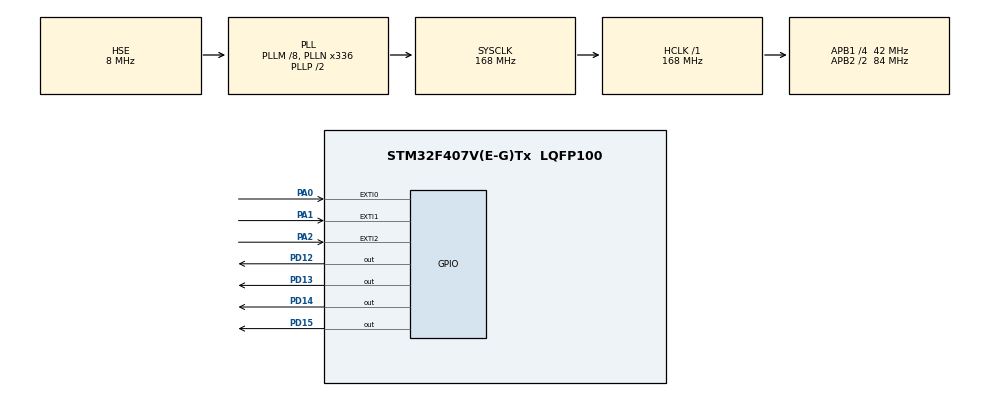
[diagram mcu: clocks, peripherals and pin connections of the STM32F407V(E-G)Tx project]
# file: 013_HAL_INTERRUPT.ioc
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Mcu.Family=STM32F4
Mcu.Name=STM32F407V(E-G)Tx
Mcu.Package=LQFP100
NVIC.EXTI0_IRQn=true\:0\:0\:false\:false\:true\:true\:true
NVIC.EXTI1_IRQn=true\:0\:0\:false\:false\:true\:true\:true
NVIC.EXTI2_IRQn=true\:0\:0\:false\:false\:true\:true\:true
NVIC.PriorityGroup=NVIC_PRIORITYGROUP_0
PA0-WKUP.GPIO_PuPd=GPIO_PULLDOWN
PA0-WKUP.Signal=GPXTI0
PA1.GPIO_PuPd=GPIO_PULLDOWN
PA1.Signal=GPXTI1
PA2.GPIO_PuPd=GPIO_PULLDOWN
PA2.Signal=GPXTI2
PD12.GPIO_Speed=GPIO_SPEED_FREQ_VERY_HIGH
PD12.Signal=GPIO_Output
PD13.GPIO_Speed=GPIO_SPEED_FREQ_VERY_HIGH
PD13.Signal=GPIO_Output
PD14.GPIO_Speed=GPIO_SPEED_FREQ_VERY_HIGH
PD14.Signal=GPIO_Output
PD15.GPIO_Speed=GPIO_SPEED_FREQ_VERY_HIGH
PD15.Signal=GPIO_Output
PH0-OSC_IN.Mode=HSE-External-Oscillator
PH0-OSC_IN.Signal=RCC_OSC_IN
PH1-OSC_OUT.Mode=HSE-External-Oscillator
PH1-OSC_OUT.Signal=RCC_OSC_OUT
ProjectManager.HeapSize=0x200
ProjectManager.StackSize=0x400
ProjectManager.TargetToolchain=TrueSTUDIO
RCC.48MHZClocksFreq_Value=48000000
RCC.AHBFreq_Value=168000000
RCC.APB1CLKDivider=RCC_HCLK_DIV4
RCC.APB1Freq_Value=42000000
RCC.APB1TimFreq_Value=84000000
RCC.APB2CLKDivider=RCC_HCLK_DIV2
RCC.APB2Freq_Value=84000000
RCC.APB2TimFreq_Value=168000000
RCC.CortexFreq_Value=168000000
RCC.HCLKFreq_Value=168000000
RCC.HSE_VALUE=8000000
RCC.HSI_VALUE=16000000
RCC.PLLM=8
RCC.PLLN=336
RCC.PLLQ=7
RCC.PLLSourceVirtual=RCC_PLLSOURCE_HSE
RCC.SYSCLKFreq_VALUE=168000000
RCC.SYSCLKSource=RCC_SYSCLKSOURCE_PLLCLK
RCC.VCOOutputFreq_Value=336000000
board=STM32F407G-DISC1

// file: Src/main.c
/* USER CODE BEGIN Header */
/**
  ******************************************************************************
  * @file           : main.c
  * @brief          : Main program body
  ******************************************************************************
  * @attention
  *
  * <h2><center>&copy; Copyright (c) 2022 STMicroelectronics.
  * All rights reserved.</center></h2>
  *
  * This software component is licensed by ST under BSD 3-Clause license,
  * the "License"; You may not use this file except in compliance with the
  * License. You may obtain a copy of the License at:
  *                        opensource.org/licenses/BSD-3-Clause
  *
  ******************************************************************************
  */
/* USER CODE END Header */
#include "main.h"

/* USER CODE BEGIN Includes */
int count =0;
int i=0;
/* USER CODE END Includes */

void SystemClock_Config(void);
static void MX_GPIO_Init(void);

/* USER CODE BEGIN 0 */
void HAL_GPIO_EXTI_Callback(uint16_t GPIO_Pin){
	i++;

	if(HAL_GPIO_ReadPin(GPIOA,GPIO_PIN_0)){
		if(i==1){
				count = 1000;
			}
			else if(i ==2){
				count= 750;
			}
			else if(i==3){
				count= 500;
			}
			else{
				count=250;
				i = 0;
			}
	}

	else if(HAL_GPIO_ReadPin(GPIOA,GPIO_PIN_1)){
		count=2000;
	}

	else if(HAL_GPIO_ReadPin(GPIOA,GPIO_PIN_2)){
		count = 3000;
	}

}
/* USER CODE END 0 */

int main(void)
{

  /* MCU Configuration--------------------------------------------------------*/

  /* Reset of all peripherals, Initializes the Flash interface and the Systick. */
  HAL_Init();

  /* Configure the system clock */
  SystemClock_Config();

  /* Initialize all configured peripherals */
  MX_GPIO_Init();

  /* Infinite loop */
  while (1)
  {
	  HAL_GPIO_TogglePin(GPIOD,GPIO_PIN_12|GPIO_PIN_13|GPIO_PIN_14|GPIO_PIN_15);
	  HAL_Delay(count);
  }
}

void SystemClock_Config(void)
{
  RCC_OscInitTypeDef RCC_OscInitStruct = {0};
  RCC_ClkInitTypeDef RCC_ClkInitStruct = {0};

  /** Configure the main internal regulator output voltage
  */
  __HAL_RCC_PWR_CLK_ENABLE();
  __HAL_PWR_VOLTAGESCALING_CONFIG(PWR_REGULATOR_VOLTAGE_SCALE1);
  /** Initializes the RCC Oscillators according to the specified parameters
  * in the RCC_OscInitTypeDef structure.
  */
  RCC_OscInitStruct.OscillatorType = RCC_OSCILLATORTYPE_HSE;
  RCC_OscInitStruct.HSEState = RCC_HSE_ON;
  RCC_OscInitStruct.PLL.PLLState = RCC_PLL_ON;
  RCC_OscInitStruct.PLL.PLLSource = RCC_PLLSOURCE_HSE;
  RCC_OscInitStruct.PLL.PLLM = 8;
  RCC_OscInitStruct.PLL.PLLN = 336;
  RCC_OscInitStruct.PLL.PLLP = RCC_PLLP_DIV2;
  RCC_OscInitStruct.PLL.PLLQ = 7;
  if (HAL_RCC_OscConfig(&RCC_OscInitStruct) != HAL_OK)
  {
    Error_Handler();
  }
  /** Initializes the CPU, AHB and APB buses clocks
  */
  RCC_ClkInitStruct.ClockType = RCC_CLOCKTYPE_HCLK|RCC_CLOCKTYPE_SYSCLK
                              |RCC_CLOCKTYPE_PCLK1|RCC_CLOCKTYPE_PCLK2;
  RCC_ClkInitStruct.SYSCLKSource = RCC_SYSCLKSOURCE_PLLCLK;
  RCC_ClkInitStruct.AHBCLKDivider = RCC_SYSCLK_DIV1;
  RCC_ClkInitStruct.APB1CLKDivider = RCC_HCLK_DIV4;
  RCC_ClkInitStruct.APB2CLKDivider = RCC_HCLK_DIV2;

  if (HAL_RCC_ClockConfig(&RCC_ClkInitStruct, FLASH_LATENCY_5) != HAL_OK)
  {
    Error_Handler();
  }
}

static void MX_GPIO_Init(void)
{
  GPIO_InitTypeDef GPIO_InitStruct = {0};

  /* GPIO Ports Clock Enable */
  __HAL_RCC_GPIOH_CLK_ENABLE();
  __HAL_RCC_GPIOA_CLK_ENABLE();
  __HAL_RCC_GPIOD_CLK_ENABLE();

  /*Configure GPIO pin Output Level */
  HAL_GPIO_WritePin(GPIOD, GPIO_PIN_12|GPIO_PIN_13|GPIO_PIN_14|GPIO_PIN_15, GPIO_PIN_RESET);

  /*Configure GPIO pins : PA0 PA1 PA2 */
  GPIO_InitStruct.Pin = GPIO_PIN_0|GPIO_PIN_1|GPIO_PIN_2;
  GPIO_InitStruct.Mode = GPIO_MODE_IT_RISING;
  GPIO_InitStruct.Pull = GPIO_PULLDOWN;
  HAL_GPIO_Init(GPIOA, &GPIO_InitStruct);

  /*Configure GPIO pins : PD12 PD13 PD14 PD15 */
  GPIO_InitStruct.Pin = GPIO_PIN_12|GPIO_PIN_13|GPIO_PIN_14|GPIO_PIN_15;
  GPIO_InitStruct.Mode = GPIO_MODE_OUTPUT_PP;
  GPIO_InitStruct.Pull = GPIO_NOPULL;
  GPIO_InitStruct.Speed = GPIO_SPEED_FREQ_VERY_HIGH;
  HAL_GPIO_Init(GPIOD, &GPIO_InitStruct);

  /* EXTI interrupt init*/
  HAL_NVIC_SetPriority(EXTI0_IRQn, 0, 0);
  HAL_NVIC_EnableIRQ(EXTI0_IRQn);

  HAL_NVIC_SetPriority(EXTI1_IRQn, 0, 0);
  HAL_NVIC_EnableIRQ(EXTI1_IRQn);

  HAL_NVIC_SetPriority(EXTI2_IRQn, 0, 0);
  HAL_NVIC_EnableIRQ(EXTI2_IRQn);

}

void Error_Handler(void)
{
  __disable_irq();
  while (1)
  {
  }
}

/************************ (C) COPYRIGHT STMicroelectronics *****END OF FILE****/
